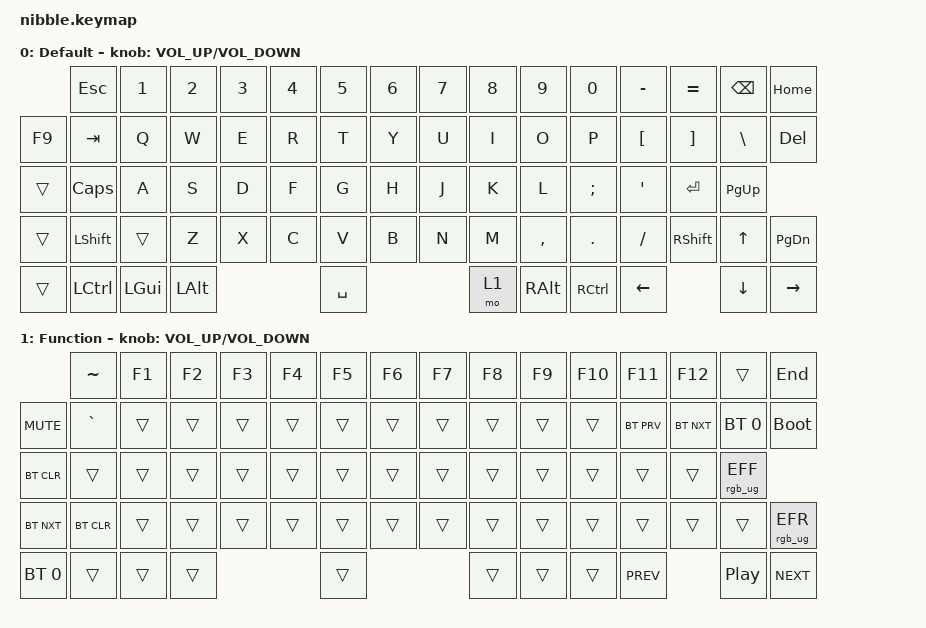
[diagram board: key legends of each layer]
/*
 * Copyright (c) 2020 The ZMK Contributors
 *
 * SPDX-License-Identifier: MIT
 */

#include <behaviors.dtsi>
#include <dt-bindings/zmk/keys.h>
#include <dt-bindings/zmk/bt.h>
#include <dt-bindings/zmk/rgb.h>
#include <../boards/shields/nibble/boards/nice_nano.overlay>

/ {
	sensors {
		compatible = "zmk,keymap-sensors";
		sensors = <&encoder_1>;
	};

	keymap {
		compatible = "zmk,keymap";

		default_layer {
			label = "Default";

			sensor-bindings = <&inc_dec_kp C_VOLUME_UP C_VOLUME_DOWN>;

			bindings = <
            &kp ESC   &kp N1    &kp N2    &kp N3    &kp N4    &kp N5    &kp N6    &kp N7    &kp N8  &kp N9    &kp N0    &kp MINUS &kp EQUAL &kp BSPC &kp HOME
&kp F9  &kp TAB   &kp Q     &kp W     &kp E     &kp R     &kp T     &kp Y     &kp U     &kp I   &kp O     &kp P     &kp LBKT  &kp RBKT  &kp BSLH &kp DEL
&trans      &kp CLCK  &kp A     &kp S     &kp D     &kp F     &kp G     &kp H     &kp J     &kp K   &kp L     &kp SEMI  &kp SQT             &kp RET  &kp PG_UP
&trans      &kp LSHFT &trans    &kp Z     &kp X     &kp C     &kp V     &kp B     &kp N     &kp M   &kp COMMA &kp DOT   &kp FSLH  &kp RSHFT &kp UP   &kp PG_DN
&trans      &kp LCTRL &kp LGUI  &kp LALT                      &kp SPACE                     &mo 1   &kp RALT  &kp RCTRL &kp LEFT            &kp DOWN &kp RIGHT
			>;
		};
		function_layer {
			label = "Function";
			
			sensor-bindings = <&inc_dec_kp C_VOLUME_UP C_VOLUME_DOWN>;

			bindings = <
            &kp TILDE &kp F1    &kp F2    &kp F3    &kp F4    &kp F5    &kp F6    &kp F7    &kp F8  &kp F9    &kp F10   &kp F11   &kp F12   &trans   &kp END
&kp C_MUTE  &kp GRAVE &trans    &trans    &trans    &trans    &trans    &trans    &trans    &trans  &trans    &trans    &bt BT_PRV    &bt BT_NXT    &bt BT_SEL 0   &bootloader
&bt BT_CLR  &trans    &trans    &trans    &trans    &trans    &trans    &trans    &trans    &trans  &trans    &trans    &trans              &trans   &rgb_ug RGB_EFF
&bt BT_NXT  &bt BT_CLR    &trans    &trans    &trans    &trans    &trans    &trans    &trans    &trans  &trans    &trans    &trans    &trans    &trans   &rgb_ug RGB_EFR
&bt BT_SEL 0  &trans    &trans    &trans                        &trans                        &trans  &trans    &trans    &kp C_PREV          &kp C_PP &kp C_NEXT
			>;
		};
	};
};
